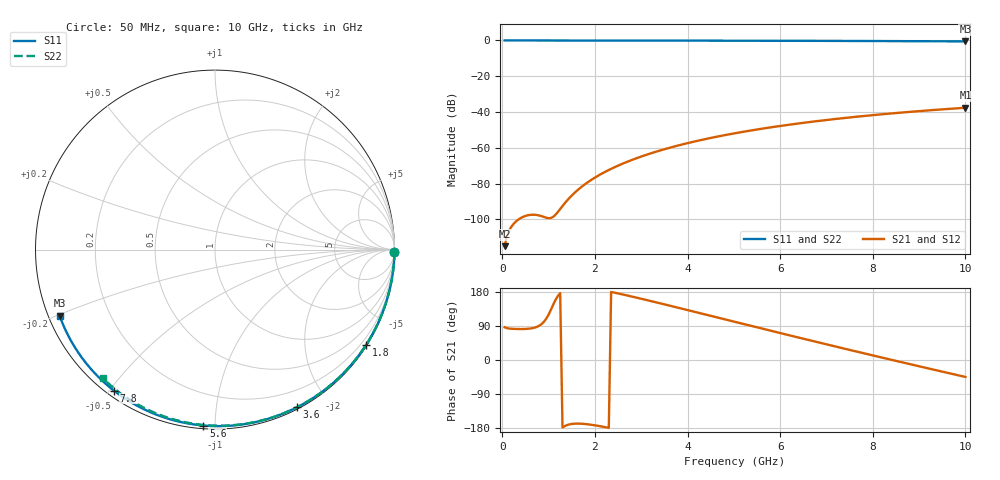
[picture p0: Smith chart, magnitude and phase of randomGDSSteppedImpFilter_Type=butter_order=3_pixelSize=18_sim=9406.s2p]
! freq	dB(S11)	phase(S11)	dB(S12)	phase(S12)
!  dB(S21)	phase(S21)	dB(S22)	phase(S22)
!S-par simulation data
#  GHz  S  DB  R 50
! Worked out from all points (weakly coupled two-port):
!   200 points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, 50 MHz to 10 GHz, reference 50 ohm
!   highest |S21| = -37.60 dB at 10 GHz (marker M1); lowest = -114.9 dB at 50 MHz (marker M2)
!   lowest |S11| = -0.5 dB at 10 GHz (marker M3), VSWR 32.84, Z = 1.59 - j10.2 ohm
!   |S11| at or under -10 dB: nowhere
!   |S22| runs from -0.4 to 0.0 dB; largest |S21 - S12| = 0
!   S11 on the Smith chart (normalised r, x): 50 MHz: open; 1.8 GHz: 0.03, -3.48; 3.6 GHz: 0.02, -1.65; 5.6 GHz: 0.02, -0.94; 7.8 GHz: 0.02, -0.51; 10 GHz: 0.03, -0.20
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0.05  -0.00 -0.9  -114.92 86.5  -114.92 86.5  -0.00 -0.8
0.45  -0.01 -8.2  -98.53 81.7  -98.53 81.7  -0.01 -6.8
0.9  -0.02 -16.2  -98.61 100.9  -98.61 100.9  -0.02 -13.6
1.3  -0.03 -23.3  -92.49 -178.2  -92.49 -178.2  -0.02 -19.5
1.75  -0.04 -31.2  -81.00 -168.5  -81.00 -168.5  -0.03 -26.2
1.8  -0.04 -32.1  -80.05 -169.1  -80.05 -169.1  -0.03 -26.9
2  -0.05 -35.6  -76.62 -172.4  -76.62 -172.4  -0.04 -29.8
2.15  -0.05 -38.2  -74.38 -175.6  -74.38 -175.6  -0.04 -32.0
2.5  -0.06 -44.2  -69.93 175.7  -69.93 175.7  -0.05 -37.0
2.9  -0.07 -50.9  -65.77 164.5  -65.77 164.5  -0.06 -42.8
3.4  -0.08 -59.2  -61.52 149.9  -61.52 149.9  -0.07 -49.8
3.6  -0.08 -62.5  -60.04 143.9  -60.04 143.9  -0.07 -52.6
4.3  -0.10 -73.7  -55.57 122.7  -55.57 122.7  -0.09 -62.1
5.05  -0.13 -85.4  -51.71 99.9  -51.71 99.9  -0.11 -72.1
5.6  -0.16 -93.7  -49.32 83.2  -49.32 83.2  -0.13 -79.2
6.15  -0.18 -101.9  -47.22 66.6  -47.22 66.6  -0.15 -86.1
6.7  -0.21 -109.9  -45.37 50.2  -45.37 50.2  -0.18 -92.9
7.25  -0.25 -117.8  -43.71 34.0  -43.71 34.0  -0.21 -99.5
7.8  -0.29 -125.6  -42.22 17.9  -42.22 17.9  -0.25 -106.0
8.35  -0.34 -133.4  -40.89 2.0  -40.89 2.0  -0.29 -112.4
9.2  -0.43 -145.4  -39.07 -22.2  -39.07 -22.2  -0.36 -122.2
10  -0.53 -157.0  -37.60 -44.7  -37.60 -44.7  -0.44 -131.2
